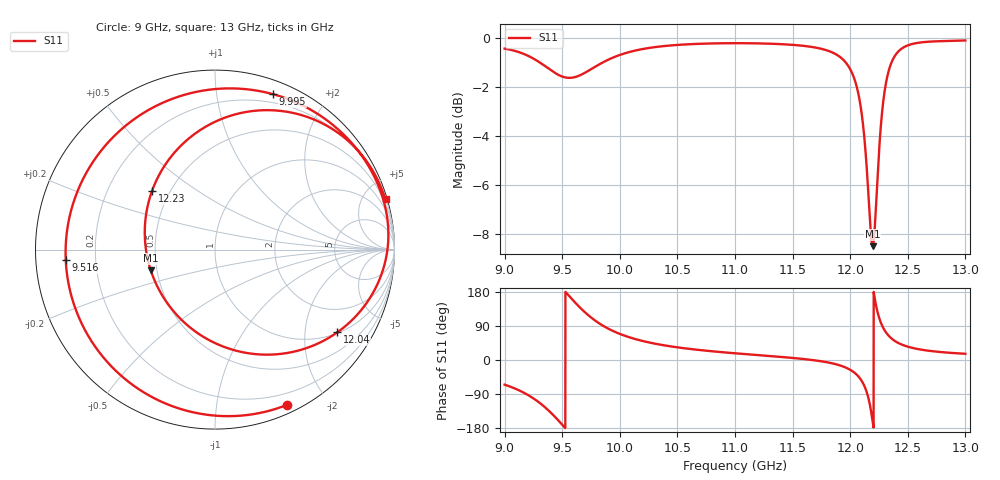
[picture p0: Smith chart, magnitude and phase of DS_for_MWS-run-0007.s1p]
! TOUCHSTONE file generated by CST DESIGN STUDIO
! Date and time: Wed Feb  5 13:35:22 2025
! Project name: C:\Work\MatlabApps\UnitCellOptimizationMatlab\CST\unitcell.cst
! Tree item: Tasks\Sweep1\SPara1\S-Parameters
! Header version: 2024
! Port assignment regex: !\s*Touchstone port\s*([0-9]+)\s*=\s*(CST MWS port|CST DES external port|CST DES block port)\s*(.+)\s* \(\"(.*)\"\)(\s*mode\s*([0-9]+))?.*
! Touchstone port assignment:
! Touchstone port 1 = CST DES external port 1 ("")
# GHz S MA R 50
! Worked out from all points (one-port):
!   4001 points, 9 GHz to 13 GHz, reference 50 ohm
!   lowest |S11| = -8.5 dB at 12.2 GHz (marker M1), VSWR 2.21, Z = 23.1 - j6.19 ohm
!   |S11| at or under -10 dB: nowhere
!   S11 on the Smith chart (normalised r, x): 9 GHz: 0.08, -1.56; 9.516 GHz: 0.09, -0.03; 9.995 GHz: 0.12, +1.44; 12.04 GHz: 1.03, -2.94; 12.23 GHz: 0.40, +0.34; 13 GHz: 0.23, +6.93
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9  0.9535 -65.1
9.171  0.9289 -87.0
9.288  0.8985 -109.4
9.39  0.865 -135.7
9.5  0.8359 -170.6
9.516  0.8336 -176.1
9.609  0.8335 152.6
9.734  0.8607 116.3
9.846  0.8917 91.9
9.995  0.9245 69.5
10  0.9254 68.9
10.215  0.9531 48.9
10.5  0.9701 33.4
11  0.9781 17.7
11.5  0.9705 5.5
11.806  0.9441 -6.4
12  0.8655 -25.8
12.039  0.8231 -34.0
12.089  0.7305 -50.3
12.134  0.5836 -76.6
12.164  0.4543 -108.1
12.195  0.376 -162.2
12.229  0.479 137.2
12.266  0.6622 98.6
12.307  0.8021 74.4
12.387  0.9206 50.3
12.5  0.9681 35.1
13  0.9908 16.4
